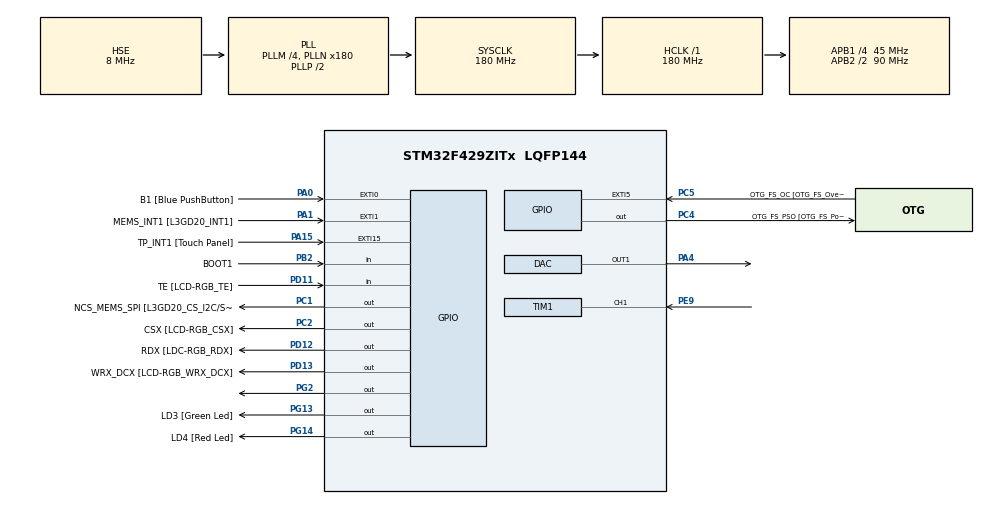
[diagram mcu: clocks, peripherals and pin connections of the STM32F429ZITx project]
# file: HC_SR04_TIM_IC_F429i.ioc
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DAC.DAC_Trigger=DAC_TRIGGER_T2_TRGO
Dma.DAC1.0.Direction=DMA_MEMORY_TO_PERIPH
Dma.DAC1.0.FIFOMode=DMA_FIFOMODE_DISABLE
Dma.DAC1.0.Instance=DMA1_Stream5
Dma.DAC1.0.MemDataAlignment=DMA_MDATAALIGN_WORD
Dma.DAC1.0.MemInc=DMA_MINC_ENABLE
Dma.DAC1.0.Mode=DMA_CIRCULAR
Dma.DAC1.0.PeriphDataAlignment=DMA_PDATAALIGN_WORD
Dma.DAC1.0.PeriphInc=DMA_PINC_DISABLE
Dma.DAC1.0.Priority=DMA_PRIORITY_LOW
Dma.Request0=DAC1
Mcu.Family=STM32F4
Mcu.Name=STM32F429ZITx
Mcu.Package=LQFP144
NVIC.DMA1_Stream5_IRQn=true\:0\:0\:false\:false\:true\:false\:true\:true
NVIC.PriorityGroup=NVIC_PRIORITYGROUP_4
NVIC.TIM1_CC_IRQn=true\:0\:0\:false\:false\:true\:true\:true\:true
PA0/WKUP.GPIO_Label=B1 [Blue PushButton]
PA0/WKUP.GPIO_ModeDefaultEXTI=GPIO_MODE_EVT_RISING
PA0/WKUP.GPIO_PuPd=GPIO_NOPULL
PA0/WKUP.Signal=GPXTI0
PA1.GPIO_Label=MEMS_INT1 [L3GD20_INT1]
PA1.GPIO_ModeDefaultEXTI=GPIO_MODE_EVT_RISING
PA1.GPIO_PuPd=GPIO_NOPULL
PA1.Signal=GPXTI1
PA10.GPIO_Label=STLINK_TX [STM32F103CBT6_PA2]
PA10.Signal=USART1_RX
PA11.GPIO_Label=R4
PA11.GPIO_Mode=GPIO_MODE_AF_PP
PA11.GPIO_PuPd=GPIO_NOPULL
PA11.GPIO_Speed=GPIO_SPEED_FREQ_LOW
PA11.Signal=LTDC_R4
PA12.GPIO_Label=R5
PA12.GPIO_Mode=GPIO_MODE_AF_PP
PA12.GPIO_PuPd=GPIO_NOPULL
PA12.GPIO_Speed=GPIO_SPEED_FREQ_LOW
PA12.Signal=LTDC_R5
PA13.GPIO_Label=SWDIO
PA13.Mode=Serial_Wire
PA13.Signal=SYS_JTMS-SWDIO
PA14.GPIO_Label=SWCLK
PA14.Mode=Serial_Wire
PA14.Signal=SYS_JTCK-SWCLK
PA15.GPIO_Label=TP_INT1 [Touch Panel]
PA15.GPIO_ModeDefaultEXTI=GPIO_MODE_EVT_RISING
PA15.GPIO_PuPd=GPIO_NOPULL
PA15.Signal=GPXTI15
PA3.GPIO_Label=B5
PA3.GPIO_Mode=GPIO_MODE_AF_PP
PA3.GPIO_PuPd=GPIO_NOPULL
PA3.GPIO_Speed=GPIO_SPEED_FREQ_LOW
PA3.Signal=LTDC_B5
PA4.Signal=COMP_DAC1_group
PA6.GPIO_Label=G2
PA6.GPIO_Mode=GPIO_MODE_AF_PP
PA6.GPIO_PuPd=GPIO_NOPULL
PA6.GPIO_Speed=GPIO_SPEED_FREQ_LOW
PA6.Signal=LTDC_G2
PA7.Signal=TIM1_CH1N
PA8.GPIO_Label=I2C3_SCL [ACP/RF_SCL]
PA8.GPIO_Mode=GPIO_MODE_AF_OD
PA8.GPIO_PuPd=GPIO_NOPULL
PA8.GPIO_Speed=GPIO_SPEED_FREQ_LOW
PA8.Signal=I2C3_SCL
PA9.GPIO_Label=STLINK_RX [STM32F103CBT6_PA3]
PA9.Signal=USART1_TX
PB0.GPIO_Label=R3
PB0.GPIO_Mode=GPIO_MODE_AF_PP
PB0.GPIO_PuPd=GPIO_NOPULL
PB0.GPIO_Speed=GPIO_SPEED_FREQ_LOW
PB0.Signal=LTDC_R3
PB1.GPIO_Label=R6
PB1.GPIO_Mode=GPIO_MODE_AF_PP
PB1.GPIO_PuPd=GPIO_NOPULL
PB1.GPIO_Speed=GPIO_SPEED_FREQ_LOW
PB1.Signal=LTDC_R6
PB10.GPIO_Label=G4
PB10.GPIO_Mode=GPIO_MODE_AF_PP
PB10.GPIO_PuPd=GPIO_NOPULL
PB10.GPIO_Speed=GPIO_SPEED_FREQ_LOW
PB10.Signal=LTDC_G4
PB11.GPIO_Label=G5
PB11.GPIO_Mode=GPIO_MODE_AF_PP
PB11.GPIO_PuPd=GPIO_NOPULL
PB11.GPIO_Speed=GPIO_SPEED_FREQ_LOW
PB11.Signal=LTDC_G5
PB12.GPIO_Label=OTG_HS_ID
PB12.GPIO_Mode=GPIO_MODE_AF_PP
PB12.GPIO_PuPd=GPIO_NOPULL
PB12.GPIO_Speed=GPIO_SPEED_FREQ_LOW
PB12.Signal=USB_OTG_HS_ID
PB13.GPIO_Label=VBUS_HS
PB13.GPIO_Mode=GPIO_MODE_INPUT
PB13.GPIO_PuPd=GPIO_NOPULL
PB13.Signal=USB_OTG_HS_VBUS
PB14.GPIO_Label=OTG_HS_DM
PB14.GPIO_Mode=GPIO_MODE_AF_PP
PB14.GPIO_PuPd=GPIO_NOPULL
PB14.GPIO_Speed=GPIO_SPEED_FREQ_LOW
PB14.Signal=USB_OTG_HS_DM
PB15.GPIO_Label=OTG_HS_DP
PB15.GPIO_Mode=GPIO_MODE_AF_PP
PB15.GPIO_PuPd=GPIO_NOPULL
PB15.GPIO_Speed=GPIO_SPEED_FREQ_LOW
PB15.Signal=USB_OTG_HS_DP
PB2/BOOT1.GPIO_Label=BOOT1
PB2/BOOT1.GPIO_Mode=GPIO_MODE_INPUT
PB2/BOOT1.GPIO_PuPd=GPIO_NOPULL
PB2/BOOT1.Signal=GPIO_Input
PB5.GPIO_Label=SDCKE1
PB5.GPIO_Mode=GPIO_MODE_AF_PP
PB5.GPIO_PuPd=GPIO_NOPULL
PB5.GPIO_Speed=GPIO_SPEED_FREQ_VERY_HIGH
PB5.Signal=FMC_SDCKE1
PB6.GPIO_Label=SDNE1 [SDRAM_CS]
PB6.GPIO_Mode=GPIO_MODE_AF_PP
PB6.GPIO_PuPd=GPIO_NOPULL
PB6.GPIO_Speed=GPIO_SPEED_FREQ_VERY_HIGH
PB6.Signal=FMC_SDNE1
PB8.GPIO_Label=B6
PB8.GPIO_Mode=GPIO_MODE_AF_PP
PB8.GPIO_PuPd=GPIO_NOPULL
PB8.GPIO_Speed=GPIO_SPEED_FREQ_LOW
PB8.Signal=LTDC_B6
PB9.GPIO_Label=B7
PB9.GPIO_Mode=GPIO_MODE_AF_PP
PB9.GPIO_PuPd=GPIO_NOPULL
PB9.GPIO_Speed=GPIO_SPEED_FREQ_LOW
PB9.Signal=LTDC_B7
PC0.GPIO_Label=SDNWE
PC0.GPIO_Mode=GPIO_MODE_AF_PP
PC0.GPIO_PuPd=GPIO_NOPULL
PC0.GPIO_Speed=GPIO_SPEED_FREQ_VERY_HIGH
PC0.Signal=FMC_SDNWE
PC1.GPIO_Label=NCS_MEMS_SPI [L3GD20_CS_I2C/SPI]
PC1.GPIO_Mode=GPIO_MODE_OUTPUT_PP
PC1.GPIO_PuPd=GPIO_NOPULL
PC1.GPIO_Speed=GPIO_SPEED_FREQ_LOW
PC1.Signal=GPIO_Output
PC10.GPIO_Label=R2
PC10.GPIO_Mode=GPIO_MODE_AF_PP
PC10.GPIO_PuPd=GPIO_NOPULL
PC10.GPIO_Speed=GPIO_SPEED_FREQ_LOW
PC10.Signal=LTDC_R2
PC14/OSC32_IN.GPIO_Label=PC14-OSC32_IN
PC14/OSC32_IN.Signal=RCC_OSC32_IN
PC15/OSC32_OUT.GPIO_Label=PC15-OSC32_OUT
PC15/OSC32_OUT.Signal=RCC_OSC32_OUT
PC2.GPIO_Label=CSX [LCD-RGB_CSX]
PC2.GPIO_Mode=GPIO_MODE_OUTPUT_PP
PC2.GPIO_PuPd=GPIO_NOPULL
PC2.GPIO_Speed=GPIO_SPEED_FREQ_LOW
PC2.Signal=GPIO_Output
PC4.GPIO_Label=OTG_FS_PSO [OTG_FS_PowerSwitchOn]
PC4.GPIO_Mode=GPIO_MODE_OUTPUT_PP
PC4.GPIO_PuPd=GPIO_NOPULL
PC4.GPIO_Speed=GPIO_SPEED_FREQ_LOW
PC4.Signal=GPIO_Output
PC5.GPIO_Label=OTG_FS_OC [OTG_FS_OverCurrent]
PC5.GPIO_ModeDefaultEXTI=GPIO_MODE_EVT_RISING
PC5.Signal=GPXTI5
PC6.GPIO_Label=HSYNC
PC6.GPIO_Mode=GPIO_MODE_AF_PP
PC6.GPIO_PuPd=GPIO_NOPULL
PC6.GPIO_Speed=GPIO_SPEED_FREQ_LOW
PC6.Signal=LTDC_HSYNC
PC7.GPIO_Label=G6
PC7.GPIO_Mode=GPIO_MODE_AF_PP
PC7.GPIO_PuPd=GPIO_NOPULL
PC7.GPIO_Speed=GPIO_SPEED_FREQ_LOW
PC7.Signal=LTDC_G6
PC9.GPIO_Label=I2C3_SDA [ACP/RF_SDA]
PC9.GPIO_Mode=GPIO_MODE_AF_OD
PC9.GPIO_PuPd=GPIO_NOPULL
PC9.GPIO_Speed=GPIO_SPEED_FREQ_LOW
PC9.Signal=I2C3_SDA
PD0.GPIO_Label=D2
PD0.GPIO_Mode=GPIO_MODE_AF_PP
PD0.GPIO_PuPd=GPIO_NOPULL
PD0.GPIO_Speed=GPIO_SPEED_FREQ_VERY_HIGH
PD0.Signal=FMC_D2_DA2
PD1.GPIO_Label=D3
PD1.GPIO_Mode=GPIO_MODE_AF_PP
PD1.GPIO_PuPd=GPIO_NOPULL
PD1.GPIO_Speed=GPIO_SPEED_FREQ_VERY_HIGH
PD1.Signal=FMC_D3_DA3
PD10.GPIO_Label=D15
PD10.GPIO_Mode=GPIO_MODE_AF_PP
PD10.GPIO_PuPd=GPIO_NOPULL
PD10.GPIO_Speed=GPIO_SPEED_FREQ_VERY_HIGH
PD10.Signal=FMC_D15_DA15
PD11.GPIO_Label=TE [LCD-RGB_TE]
PD11.GPIO_Mode=GPIO_MODE_INPUT
PD11.GPIO_PuPd=GPIO_NOPULL
PD11.Signal=GPIO_Input
PD12.GPIO_Label=RDX [LDC-RGB_RDX]
PD12.GPIO_Mode=GPIO_MODE_OUTPUT_PP
PD12.GPIO_PuPd=GPIO_NOPULL
PD12.GPIO_Speed=GPIO_SPEED_FREQ_LOW
PD12.Signal=GPIO_Output
PD13.GPIO_Label=WRX_DCX [LCD-RGB_WRX_DCX]
PD13.GPIO_Mode=GPIO_MODE_OUTPUT_PP
PD13.GPIO_PuPd=GPIO_NOPULL
PD13.GPIO_Speed=GPIO_SPEED_FREQ_LOW
PD13.Signal=GPIO_Output
PD14.GPIO_Label=D0
PD14.GPIO_Mode=GPIO_MODE_AF_PP
PD14.GPIO_PuPd=GPIO_NOPULL
PD14.GPIO_Speed=GPIO_SPEED_FREQ_VERY_HIGH
PD14.Signal=FMC_D0_DA0
PD15.GPIO_Label=D1
PD15.GPIO_Mode=GPIO_MODE_AF_PP
PD15.GPIO_PuPd=GPIO_NOPULL
PD15.GPIO_Speed=GPIO_SPEED_FREQ_VERY_HIGH
PD15.Signal=FMC_D1_DA1
PD3.GPIO_Label=G7
PD3.GPIO_Mode=GPIO_MODE_AF_PP
PD3.GPIO_PuPd=GPIO_NOPULL
PD3.GPIO_Speed=GPIO_SPEED_FREQ_LOW
PD3.Signal=LTDC_G7
PD6.GPIO_Label=B2
PD6.GPIO_Mode=GPIO_MODE_AF_PP
PD6.GPIO_PuPd=GPIO_NOPULL
PD6.GPIO_Speed=GPIO_SPEED_FREQ_LOW
PD6.Signal=LTDC_B2
PD8.GPIO_Label=D13
PD8.GPIO_Mode=GPIO_MODE_AF_PP
PD8.GPIO_PuPd=GPIO_NOPULL
PD8.GPIO_Speed=GPIO_SPEED_FREQ_VERY_HIGH
PD8.Signal=FMC_D13_DA13
PD9.GPIO_Label=D14
PD9.GPIO_Mode=GPIO_MODE_AF_PP
PD9.GPIO_PuPd=GPIO_NOPULL
PD9.GPIO_Speed=GPIO_SPEED_FREQ_VERY_HIGH
PD9.Signal=FMC_D14_DA14
PE0.GPIO_Label=NBL0 [SDRAM_LDQM]
PE0.GPIO_Mode=GPIO_MODE_AF_PP
PE0.GPIO_PuPd=GPIO_NOPULL
PE0.GPIO_Speed=GPIO_SPEED_FREQ_VERY_HIGH
PE0.Signal=FMC_NBL0
PE1.GPIO_Label=NBL1 [SDRAM_UDQM]
PE1.GPIO_Mode=GPIO_MODE_AF_PP
PE1.GPIO_PuPd=GPIO_NOPULL
PE1.GPIO_Speed=GPIO_SPEED_FREQ_VERY_HIGH
PE1.Signal=FMC_NBL1
PE10.GPIO_Label=D7
PE10.GPIO_Mode=GPIO_MODE_AF_PP
PE10.GPIO_PuPd=GPIO_NOPULL
PE10.GPIO_Speed=GPIO_SPEED_FREQ_VERY_HIGH
PE10.Signal=FMC_D7_DA7
PE11.GPIO_Label=D8
PE11.GPIO_Mode=GPIO_MODE_AF_PP
PE11.GPIO_PuPd=GPIO_NOPULL
PE11.GPIO_Speed=GPIO_SPEED_FREQ_VERY_HIGH
PE11.Signal=FMC_D8_DA8
PE12.GPIO_Label=D9
PE12.GPIO_Mode=GPIO_MODE_AF_PP
PE12.GPIO_PuPd=GPIO_NOPULL
PE12.GPIO_Speed=GPIO_SPEED_FREQ_VERY_HIGH
PE12.Signal=FMC_D9_DA9
PE13.GPIO_Label=D10
PE13.GPIO_Mode=GPIO_MODE_AF_PP
PE13.GPIO_PuPd=GPIO_NOPULL
PE13.GPIO_Speed=GPIO_SPEED_FREQ_VERY_HIGH
PE13.Signal=FMC_D10_DA10
PE14.GPIO_Label=D11
PE14.GPIO_Mode=GPIO_MODE_AF_PP
PE14.GPIO_PuPd=GPIO_NOPULL
PE14.GPIO_Speed=GPIO_SPEED_FREQ_VERY_HIGH
PE14.Signal=FMC_D11_DA11
PE15.GPIO_Label=D12
PE15.GPIO_Mode=GPIO_MODE_AF_PP
PE15.GPIO_PuPd=GPIO_NOPULL
PE15.GPIO_Speed=GPIO_SPEED_FREQ_VERY_HIGH
PE15.Signal=FMC_D12_DA12
PE8.GPIO_Label=D5
PE8.GPIO_Mode=GPIO_MODE_AF_PP
PE8.GPIO_PuPd=GPIO_NOPULL
PE8.GPIO_Speed=GPIO_SPEED_FREQ_VERY_HIGH
PE8.Signal=FMC_D5_DA5
PE9.Signal=S_TIM1_CH1
PF0.GPIO_Label=A0
PF0.GPIO_Mode=GPIO_MODE_AF_PP
PF0.GPIO_PuPd=GPIO_NOPULL
PF0.GPIO_Speed=GPIO_SPEED_FREQ_VERY_HIGH
PF0.Signal=FMC_A0
PF1.GPIO_Label=A1
PF1.GPIO_Mode=GPIO_MODE_AF_PP
PF1.GPIO_PuPd=GPIO_NOPULL
PF1.GPIO_Speed=GPIO_SPEED_FREQ_VERY_HIGH
PF1.Signal=FMC_A1
PF10.GPIO_Label=ENABLE [LCD-RGB_ENABLE]
PF10.GPIO_Mode=GPIO_MODE_AF_PP
PF10.GPIO_PuPd=GPIO_NOPULL
PF10.GPIO_Speed=GPIO_SPEED_FREQ_LOW
PF10.Signal=LTDC_DE
PF11.GPIO_Label=SDNRAS
PF11.GPIO_Mode=GPIO_MODE_AF_PP
PF11.GPIO_PuPd=GPIO_NOPULL
PF11.GPIO_Speed=GPIO_SPEED_FREQ_VERY_HIGH
PF11.Signal=FMC_SDNRAS
PF12.GPIO_Label=A6
PF12.GPIO_Mode=GPIO_MODE_AF_PP
PF12.GPIO_PuPd=GPIO_NOPULL
PF12.GPIO_Speed=GPIO_SPEED_FREQ_VERY_HIGH
PF12.Signal=FMC_A6
PF13.GPIO_Label=A7
PF13.GPIO_Mode=GPIO_MODE_AF_PP
PF13.GPIO_PuPd=GPIO_NOPULL
PF13.GPIO_Speed=GPIO_SPEED_FREQ_VERY_HIGH
PF13.Signal=FMC_A7
PF14.GPIO_Label=A8
PF14.GPIO_Mode=GPIO_MODE_AF_PP
PF14.GPIO_PuPd=GPIO_NOPULL
PF14.GPIO_Speed=GPIO_SPEED_FREQ_VERY_HIGH
PF14.Signal=FMC_A8
PF15.GPIO_Label=A9
PF15.GPIO_Mode=GPIO_MODE_AF_PP
PF15.GPIO_PuPd=GPIO_NOPULL
PF15.GPIO_Speed=GPIO_SPEED_FREQ_VERY_HIGH
PF15.Signal=FMC_A9
PF2.GPIO_Label=A2
PF2.GPIO_Mode=GPIO_MODE_AF_PP
PF2.GPIO_PuPd=GPIO_NOPULL
PF2.GPIO_Speed=GPIO_SPEED_FREQ_VERY_HIGH
PF2.Signal=FMC_A2
PF3.GPIO_Label=A3
PF3.GPIO_Mode=GPIO_MODE_AF_PP
PF3.GPIO_PuPd=GPIO_NOPULL
PF3.GPIO_Speed=GPIO_SPEED_FREQ_VERY_HIGH
PF3.Signal=FMC_A3
PF4.GPIO_Label=A4
PF4.GPIO_Mode=GPIO_MODE_AF_PP
PF4.GPIO_PuPd=GPIO_NOPULL
PF4.GPIO_Speed=GPIO_SPEED_FREQ_VERY_HIGH
PF4.Signal=FMC_A4
PF5.GPIO_Label=A5
PF5.GPIO_Mode=GPIO_MODE_AF_PP
PF5.GPIO_PuPd=GPIO_NOPULL
PF5.GPIO_Speed=GPIO_SPEED_FREQ_VERY_HIGH
PF5.Signal=FMC_A5
PF7.GPIO_Label=SPI5_SCK [L3GD20_SCL/SPC]
PF7.GPIO_Mode=GPIO_MODE_AF_PP
PF7.GPIO_PuPd=GPIO_NOPULL
PF7.GPIO_Speed=GPIO_SPEED_FREQ_LOW
PF7.Signal=SPI5_SCK
PF8.GPIO_Label=SPI5_MISO [L3GD20_SDO]
PF8.GPIO_Mode=GPIO_MODE_AF_PP
PF8.GPIO_PuPd=GPIO_NOPULL
PF8.GPIO_Speed=GPIO_SPEED_FREQ_LOW
PF8.Signal=SPI5_MISO
PF9.GPIO_Label=SPI5_MOSI [L3GD20_SDA/SDI/SDO]
PF9.GPIO_Mode=GPIO_MODE_AF_PP
PF9.GPIO_PuPd=GPIO_NOPULL
PF9.GPIO_Speed=GPIO_SPEED_FREQ_LOW
PF9.Signal=SPI5_MOSI
PG0.GPIO_Label=A10
PG0.GPIO_Mode=GPIO_MODE_AF_PP
PG0.GPIO_PuPd=GPIO_NOPULL
PG0.GPIO_Speed=GPIO_SPEED_FREQ_VERY_HIGH
PG0.Signal=FMC_A10
PG1.GPIO_Label=A11
PG1.GPIO_Mode=GPIO_MODE_AF_PP
PG1.GPIO_PuPd=GPIO_NOPULL
PG1.GPIO_Speed=GPIO_SPEED_FREQ_VERY_HIGH
PG1.Signal=FMC_A11
PG10.GPIO_Label=G3
PG10.GPIO_Mode=GPIO_MODE_AF_PP
PG10.GPIO_PuPd=GPIO_NOPULL
PG10.GPIO_Speed=GPIO_SPEED_FREQ_LOW
PG10.Signal=LTDC_G3
PG11.GPIO_Label=B3
PG11.GPIO_Mode=GPIO_MODE_AF_PP
PG11.GPIO_PuPd=GPIO_NOPULL
PG11.GPIO_Speed=GPIO_SPEED_FREQ_LOW
PG11.Signal=LTDC_B3
PG12.GPIO_Label=B4
PG12.GPIO_Mode=GPIO_MODE_AF_PP
PG12.GPIO_PuPd=GPIO_NOPULL
PG12.GPIO_Speed=GPIO_SPEED_FREQ_LOW
PG12.Signal=LTDC_B4
PG13.GPIO_Label=LD3 [Green Led]
PG13.GPIO_Mode=GPIO_MODE_OUTPUT_PP
PG13.GPIO_PuPd=GPIO_NOPULL
PG13.GPIO_Speed=GPIO_SPEED_FREQ_LOW
PG13.Signal=GPIO_Output
PG14.GPIO_Label=LD4 [Red Led]
PG14.GPIO_Mode=GPIO_MODE_OUTPUT_PP
PG14.GPIO_PuPd=GPIO_NOPULL
PG14.GPIO_Speed=GPIO_SPEED_FREQ_LOW
PG14.Signal=GPIO_Output
PG15.GPIO_Label=SDNCAS
PG15.GPIO_Mode=GPIO_MODE_AF_PP
PG15.GPIO_PuPd=GPIO_NOPULL
PG15.GPIO_Speed=GPIO_SPEED_FREQ_VERY_HIGH
PG15.Signal=FMC_SDNCAS
PG2.Signal=GPIO_Output
PG4.GPIO_Label=BA0
PG4.GPIO_Mode=GPIO_MODE_AF_PP
PG4.GPIO_PuPd=GPIO_NOPULL
PG4.GPIO_Speed=GPIO_SPEED_FREQ_VERY_HIGH
PG4.Signal=FMC_A14_BA0
PG5.GPIO_Label=BA1
PG5.GPIO_Mode=GPIO_MODE_AF_PP
PG5.GPIO_PuPd=GPIO_NOPULL
PG5.GPIO_Speed=GPIO_SPEED_FREQ_VERY_HIGH
PG5.Signal=FMC_A15_BA1
PG6.GPIO_Label=R7
PG6.GPIO_Mode=GPIO_MODE_AF_PP
PG6.GPIO_PuPd=GPIO_NOPULL
PG6.GPIO_Speed=GPIO_SPEED_FREQ_LOW
PG6.Signal=LTDC_R7
PG7.GPIO_Label=DOTCLK [LCT-RGB_DOTCLK]
PG7.GPIO_Mode=GPIO_MODE_AF_PP
PG7.GPIO_PuPd=GPIO_NOPULL
PG7.GPIO_Speed=GPIO_SPEED_FREQ_LOW
PG7.Signal=LTDC_CLK
PG8.GPIO_Label=SDCLK
PG8.GPIO_Mode=GPIO_MODE_AF_PP
PG8.GPIO_PuPd=GPIO_NOPULL
PG8.GPIO_Speed=GPIO_SPEED_FREQ_VERY_HIGH
PG8.Signal=FMC_SDCLK
PH0/OSC_IN.GPIO_Label=PH0-OSC_IN
PH0/OSC_IN.Mode=HSE-External-Oscillator
PH0/OSC_IN.Signal=RCC_OSC_IN
PH1/OSC_OUT.GPIO_Label=PH1-OSC_OUT
PH1/OSC_OUT.Mode=HSE-External-Oscillator
PH1/OSC_OUT.Signal=RCC_OSC_OUT
ProjectManager.HeapSize=0x200
ProjectManager.StackSize=0x400
ProjectManager.TargetToolchain=STM32CubeIDE
RCC.48MHZClocksFreq_Value=51428571.428571425
RCC.AHBFreq_Value=180000000
RCC.APB1CLKDivider=RCC_HCLK_DIV4
RCC.APB1Freq_Value=45000000
RCC.APB1TimFreq_Value=90000000
RCC.APB2CLKDivider=RCC_HCLK_DIV2
RCC.APB2Freq_Value=90000000
RCC.APB2TimFreq_Value=180000000
RCC.CortexFreq_Value=180000000
RCC.HCLKFreq_Value=180000000
RCC.HSE_VALUE=8000000
RCC.HSI_VALUE=16000000
RCC.LSE_VALUE=32768
RCC.PLLM=4
RCC.PLLN=180
RCC.PLLQ=7
RCC.PLLSAIN=50
RCC.PLLSourceVirtual=RCC_PLLSOURCE_HSE
RCC.SYSCLKFreq_VALUE=180000000
RCC.SYSCLKSource=RCC_SYSCLKSOURCE_PLLCLK
RCC.VCOOutputFreq_Value=360000000
SH.COMP_DAC1_group.0=DAC_OUT1,DAC_OUT1
SH.FMC_A0.0=FMC_A0
SH.FMC_A1.0=FMC_A1
SH.FMC_A10.0=FMC_A10
SH.FMC_A11.0=FMC_A11
SH.FMC_A14_BA0.0=FMC_BA0
SH.FMC_A15_BA1.0=FMC_BA1
SH.FMC_A2.0=FMC_A2
SH.FMC_A3.0=FMC_A3
SH.FMC_A4.0=FMC_A4
SH.FMC_A5.0=FMC_A5
SH.FMC_A6.0=FMC_A6
SH.FMC_A7.0=FMC_A7
SH.FMC_A8.0=FMC_A8
SH.FMC_A9.0=FMC_A9
SH.FMC_D0_DA0.0=FMC_D0
SH.FMC_D10_DA10.0=FMC_D10
SH.FMC_D11_DA11.0=FMC_D11
SH.FMC_D12_DA12.0=FMC_D12
SH.FMC_D13_DA13.0=FMC_D13
SH.FMC_D14_DA14.0=FMC_D14
SH.FMC_D15_DA15.0=FMC_D15
SH.FMC_D1_DA1.0=FMC_D1
SH.FMC_D2_DA2.0=FMC_D2
SH.FMC_D3_DA3.0=FMC_D3
SH.FMC_D5_DA5.0=FMC_D5
SH.FMC_D7_DA7.0=FMC_D7
SH.FMC_D8_DA8.0=FMC_D8
SH.FMC_D9_DA9.0=FMC_D9
SH.FMC_NBL0.0=FMC_NBL0
SH.FMC_NBL1.0=FMC_NBL1
SH.FMC_SDCLK.0=FMC_SDCLK
SH.FMC_SDNCAS.0=FMC_SDNCAS
SH.FMC_SDNRAS.0=FMC_SDNRAS
SH.FMC_SDNWE.0=FMC_SDNWE
SH.S_TIM1_CH1.0=TIM1_CH1,Input_Capture1_from_TI1
TIM1.Channel-Input_Capture1_from_TI1=TIM_CHANNEL_1
TIM1.ICFilter_CH1=1
TIM1.ICPolarity_CH1=TIM_INPUTCHANNELPOLARITY_BOTHEDGE
TIM1.Prescaler=180-1
TIM2.Period=1000-1
TIM2.Prescaler=90-1
TIM2.TIM_MasterOutputTrigger=TIM_TRGO_UPDATE
VP_TIM2_VS_ClockSourceINT.Mode=Internal
board=STM32F429I-DISC1

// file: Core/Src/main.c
/* USER CODE BEGIN Header */
/**
  ******************************************************************************
  * @file           : main.c
  * @brief          : Main program body
  ******************************************************************************
  * @attention
  *
  * Copyright (c) 2023 STMicroelectronics.
  * All rights reserved.
  *
  * This software is licensed under terms that can be found in the LICENSE file
  * in the root directory of this software component.
  * If no LICENSE file comes with this software, it is provided AS-IS.
  *
  ******************************************************************************
  */
/* USER CODE END Header */
#include "main.h"

/* USER CODE BEGIN Includes */
#include "math.h"
/* USER CODE END Includes */

/* USER CODE BEGIN PD */
#define PI 3.1415926
#define SAMPLENUM 10000
/* USER CODE END PD */

DAC_HandleTypeDef hdac;
DMA_HandleTypeDef hdma_dac1;

TIM_HandleTypeDef htim1;
TIM_HandleTypeDef htim2;

/* USER CODE BEGIN PV */
// TIMER DEGISKENLERI
uint32_t InputCapture[2] = {0}; // [0]->rising [1]->falling yakalama zamanları
uint32_t Distance = 0;

uint8_t Is_first = 1;
uint8_t toggle = 0;

// DAC DEGISKENLERI
float value = 0.2;
uint32_t var;
uint32_t sine_arr[SAMPLENUM] = { 0 };
/* USER CODE END PV */

void SystemClock_Config(void);
static void MX_GPIO_Init(void);
static void MX_DMA_Init(void);
static void MX_TIM1_Init(void);
static void MX_DAC_Init(void);
static void MX_TIM2_Init(void);

/* USER CODE BEGIN 0 */
void sinGet (void)
{
	for (int i=0; i<SAMPLENUM; i++)
	{
		// Formul user manual -> application notes -> Using DAC to gen. sine wave basligindan alindi
		sine_arr[i] = (sin(i*2*PI/SAMPLENUM)+1)* (4096/2);
	}
}

void delay (uint16_t time)
{
	__HAL_TIM_SET_COUNTER(&htim1, 0);
	while (__HAL_TIM_GET_COUNTER(&htim1) < time);
}

// Timer Input Capture BOTH EDGES olarak seçildi
void HAL_TIM_IC_CaptureCallback(TIM_HandleTypeDef *htim)
{
	if (htim->Channel == HAL_TIM_ACTIVE_CHANNEL_1)		// Timer üzerinde Kanal 1 yapılandırıldı.
	{
		if (Is_first)
		{
			InputCapture[0] = HAL_TIM_ReadCapturedValue(htim, TIM_CHANNEL_1);
			Is_first = 0;
		}
		else
		{
			InputCapture[1] = HAL_TIM_ReadCapturedValue(htim, TIM_CHANNEL_1);
			__HAL_TIM_SET_COUNTER(htim, 0);

			if (InputCapture[0] > InputCapture[1])
			{
				Distance = (0xFFFF - InputCapture[0]) + InputCapture[1];
			}
			else
			{
				Distance = InputCapture[1] - InputCapture[0];
			}
			Distance = Distance * (0.034/2);	// Sesin havadaki hızı 34cm/ms (340m/s). Distance = (Hız x Zaman) / 2
			Is_first = 1;						// Timer ms birimine sahip olacak şekilde yapılandırıldı.
		}
	}
}

// Eğer ARR değerinin değiştirildiği an sayaç girilen ARR değerinden büyük ise DAC özelinde dengesizlik yaratmakta.
// EGR register'ı değiştirilerek sonraki sayaç döngüsünde girlen ARR değerinin aktif olması sağlandı.
void updateARR  (TIM_HandleTypeDef* htim, uint16_t arr)
{
    __HAL_TIM_SET_AUTORELOAD(htim, arr);

    if (__HAL_TIM_GET_COUNTER(htim) >= __HAL_TIM_GET_AUTORELOAD(htim))
    	htim->Instance->EGR  |= TIM_EGR_UG;
}

void HCSR04_read (void)
{
	HAL_GPIO_WritePin(GPIOG, GPIO_PIN_2, GPIO_PIN_SET);
	delay (10);		// 10us boyunca TRIGGER sinyal gönder
	HAL_GPIO_WritePin(GPIOG, GPIO_PIN_2, GPIO_PIN_RESET);
 }
/* USER CODE END 0 */

int main(void)
{

  /* MCU Configuration--------------------------------------------------------*/

  /* Reset of all peripherals, Initializes the Flash interface and the Systick. */
  HAL_Init();

  /* Configure the system clock */
  SystemClock_Config();

  /* Initialize all configured peripherals */
  MX_GPIO_Init();
  MX_DMA_Init();
  MX_TIM1_Init();
  MX_DAC_Init();
  MX_TIM2_Init();
  /* USER CODE BEGIN 2 */
  __HAL_TIM_ENABLE_IT(&htim1, TIM_IT_CC1);		// TIMER IT Etkinlestir
  HAL_TIM_IC_Start(&htim1, TIM_CHANNEL_1);		// Input Capture modunu başlat

  // TIM2 APB2 hattina bagli ve 90MHz hızında, prescalar (90-1) ile TIM2 1MHz'e düşürüldü
  // ARR 100 ile frekans 10KHz hızına düşürüldü
  // DAC Sinüs dalgasısının frekansı = 10KHz / SAMLENUM.
  HAL_TIM_Base_Start(&htim2);
  HAL_DAC_Start_DMA(&hdac, DAC_CHANNEL_1, sine_arr, SAMPLENUM, DAC_ALIGN_12B_R);

  sinGet();  	// Sinüs değerlerini oluşturur ve array içerisine yazar
  /* USER CODE END 2 */

  /* Infinite loop */
  while (1)
  {

    /* USER CODE BEGIN 3 */
	  HCSR04_read();
	  if ((Distance>15) && !toggle)
	  {
		  toggle ^= 1;
		  updateARR (&htim2, 500);	// Uzaklığa göre Timer ARR değerini güncelle.
	  }
	  else if ((Distance>0) &&(Distance<15) && toggle)
	  {
		  toggle ^= 1;
		  updateARR (&htim2, 100);	// Uzaklığa göre Timer ARR değerini güncelle.
	  }
	  HAL_Delay(200);	// Sensör yeni veri akışına uygn olana kadar bekle
  }
  /* USER CODE END 3 */
}

void SystemClock_Config(void)
{
  RCC_OscInitTypeDef RCC_OscInitStruct = {0};
  RCC_ClkInitTypeDef RCC_ClkInitStruct = {0};

  /** Configure the main internal regulator output voltage
  */
  __HAL_RCC_PWR_CLK_ENABLE();
  __HAL_PWR_VOLTAGESCALING_CONFIG(PWR_REGULATOR_VOLTAGE_SCALE1);

  /** Initializes the RCC Oscillators according to the specified parameters
  * in the RCC_OscInitTypeDef structure.
  */
  RCC_OscInitStruct.OscillatorType = RCC_OSCILLATORTYPE_HSE;
  RCC_OscInitStruct.HSEState = RCC_HSE_ON;
  RCC_OscInitStruct.PLL.PLLState = RCC_PLL_ON;
  RCC_OscInitStruct.PLL.PLLSource = RCC_PLLSOURCE_HSE;
  RCC_OscInitStruct.PLL.PLLM = 4;
  RCC_OscInitStruct.PLL.PLLN = 180;
  RCC_OscInitStruct.PLL.PLLP = RCC_PLLP_DIV2;
  RCC_OscInitStruct.PLL.PLLQ = 7;
  if (HAL_RCC_OscConfig(&RCC_OscInitStruct) != HAL_OK)
  {
    Error_Handler();
  }

  /** Activate the Over-Drive mode
  */
  if (HAL_PWREx_EnableOverDrive() != HAL_OK)
  {
    Error_Handler();
  }

  /** Initializes the CPU, AHB and APB buses clocks
  */
  RCC_ClkInitStruct.ClockType = RCC_CLOCKTYPE_HCLK|RCC_CLOCKTYPE_SYSCLK
                              |RCC_CLOCKTYPE_PCLK1|RCC_CLOCKTYPE_PCLK2;
  RCC_ClkInitStruct.SYSCLKSource = RCC_SYSCLKSOURCE_PLLCLK;
  RCC_ClkInitStruct.AHBCLKDivider = RCC_SYSCLK_DIV1;
  RCC_ClkInitStruct.APB1CLKDivider = RCC_HCLK_DIV4;
  RCC_ClkInitStruct.APB2CLKDivider = RCC_HCLK_DIV2;

  if (HAL_RCC_ClockConfig(&RCC_ClkInitStruct, FLASH_LATENCY_5) != HAL_OK)
  {
    Error_Handler();
  }
}

static void MX_DAC_Init(void)
{

  DAC_ChannelConfTypeDef sConfig = {0};

  /** DAC Initialization
  */
  hdac.Instance = DAC;
  if (HAL_DAC_Init(&hdac) != HAL_OK)
  {
    Error_Handler();
  }

  /** DAC channel OUT1 config
  */
  sConfig.DAC_Trigger = DAC_TRIGGER_T2_TRGO;
  sConfig.DAC_OutputBuffer = DAC_OUTPUTBUFFER_ENABLE;
  if (HAL_DAC_ConfigChannel(&hdac, &sConfig, DAC_CHANNEL_1) != HAL_OK)
  {
    Error_Handler();
  }

}

static void MX_TIM1_Init(void)
{

  TIM_MasterConfigTypeDef sMasterConfig = {0};
  TIM_IC_InitTypeDef sConfigIC = {0};

  htim1.Instance = TIM1;
  htim1.Init.Prescaler = 180-1;
  htim1.Init.CounterMode = TIM_COUNTERMODE_UP;
  htim1.Init.Period = 65535;
  htim1.Init.ClockDivision = TIM_CLOCKDIVISION_DIV1;
  htim1.Init.RepetitionCounter = 0;
  htim1.Init.AutoReloadPreload = TIM_AUTORELOAD_PRELOAD_DISABLE;
  if (HAL_TIM_IC_Init(&htim1) != HAL_OK)
  {
    Error_Handler();
  }
  sMasterConfig.MasterOutputTrigger = TIM_TRGO_RESET;
  sMasterConfig.MasterSlaveMode = TIM_MASTERSLAVEMODE_DISABLE;
  if (HAL_TIMEx_MasterConfigSynchronization(&htim1, &sMasterConfig) != HAL_OK)
  {
    Error_Handler();
  }
  sConfigIC.ICPolarity = TIM_INPUTCHANNELPOLARITY_BOTHEDGE;
  sConfigIC.ICSelection = TIM_ICSELECTION_DIRECTTI;
  sConfigIC.ICPrescaler = TIM_ICPSC_DIV1;
  sConfigIC.ICFilter = 1;
  if (HAL_TIM_IC_ConfigChannel(&htim1, &sConfigIC, TIM_CHANNEL_1) != HAL_OK)
  {
    Error_Handler();
  }

}

static void MX_TIM2_Init(void)
{

  TIM_ClockConfigTypeDef sClockSourceConfig = {0};
  TIM_MasterConfigTypeDef sMasterConfig = {0};

  htim2.Instance = TIM2;
  htim2.Init.Prescaler = 90-1;
  htim2.Init.CounterMode = TIM_COUNTERMODE_UP;
  htim2.Init.Period = 1000-1;
  htim2.Init.ClockDivision = TIM_CLOCKDIVISION_DIV1;
  htim2.Init.AutoReloadPreload = TIM_AUTORELOAD_PRELOAD_DISABLE;
  if (HAL_TIM_Base_Init(&htim2) != HAL_OK)
  {
    Error_Handler();
  }
  sClockSourceConfig.ClockSource = TIM_CLOCKSOURCE_INTERNAL;
  if (HAL_TIM_ConfigClockSource(&htim2, &sClockSourceConfig) != HAL_OK)
  {
    Error_Handler();
  }
  sMasterConfig.MasterOutputTrigger = TIM_TRGO_UPDATE;
  sMasterConfig.MasterSlaveMode = TIM_MASTERSLAVEMODE_DISABLE;
  if (HAL_TIMEx_MasterConfigSynchronization(&htim2, &sMasterConfig) != HAL_OK)
  {
    Error_Handler();
  }

}

static void MX_DMA_Init(void)
{

  /* DMA controller clock enable */
  __HAL_RCC_DMA1_CLK_ENABLE();

  /* DMA interrupt init */
  /* DMA1_Stream5_IRQn interrupt configuration */
  HAL_NVIC_SetPriority(DMA1_Stream5_IRQn, 0, 0);
  HAL_NVIC_EnableIRQ(DMA1_Stream5_IRQn);

}

static void MX_GPIO_Init(void)
{
  GPIO_InitTypeDef GPIO_InitStruct = {0};

  /* GPIO Ports Clock Enable */
  __HAL_RCC_GPIOC_CLK_ENABLE();
  __HAL_RCC_GPIOF_CLK_ENABLE();
  __HAL_RCC_GPIOH_CLK_ENABLE();
  __HAL_RCC_GPIOA_CLK_ENABLE();
  __HAL_RCC_GPIOB_CLK_ENABLE();
  __HAL_RCC_GPIOG_CLK_ENABLE();
  __HAL_RCC_GPIOE_CLK_ENABLE();
  __HAL_RCC_GPIOD_CLK_ENABLE();

  /*Configure GPIO pin Output Level */
  HAL_GPIO_WritePin(GPIOC, NCS_MEMS_SPI_Pin|CSX_Pin|OTG_FS_PSO_Pin, GPIO_PIN_RESET);

  /*Configure GPIO pin Output Level */
  HAL_GPIO_WritePin(GPIOD, RDX_Pin|WRX_DCX_Pin, GPIO_PIN_RESET);

  /*Configure GPIO pin Output Level */
  HAL_GPIO_WritePin(GPIOG, GPIO_PIN_2|LD3_Pin|LD4_Pin, GPIO_PIN_RESET);

  /*Configure GPIO pins : A0_Pin A1_Pin A2_Pin A3_Pin
                           A4_Pin A5_Pin SDNRAS_Pin A6_Pin
                           A7_Pin A8_Pin A9_Pin */
  GPIO_InitStruct.Pin = A0_Pin|A1_Pin|A2_Pin|A3_Pin
                          |A4_Pin|A5_Pin|SDNRAS_Pin|A6_Pin
                          |A7_Pin|A8_Pin|A9_Pin;
  GPIO_InitStruct.Mode = GPIO_MODE_AF_PP;
  GPIO_InitStruct.Pull = GPIO_NOPULL;
  GPIO_InitStruct.Speed = GPIO_SPEED_FREQ_VERY_HIGH;
  GPIO_InitStruct.Alternate = GPIO_AF12_FMC;
  HAL_GPIO_Init(GPIOF, &GPIO_InitStruct);

  /*Configure GPIO pins : SPI5_SCK_Pin SPI5_MISO_Pin SPI5_MOSI_Pin */
  GPIO_InitStruct.Pin = SPI5_SCK_Pin|SPI5_MISO_Pin|SPI5_MOSI_Pin;
  GPIO_InitStruct.Mode = GPIO_MODE_AF_PP;
  GPIO_InitStruct.Pull = GPIO_NOPULL;
  GPIO_InitStruct.Speed = GPIO_SPEED_FREQ_LOW;
  GPIO_InitStruct.Alternate = GPIO_AF5_SPI5;
  HAL_GPIO_Init(GPIOF, &GPIO_InitStruct);

  /*Configure GPIO pin : ENABLE_Pin */
  GPIO_InitStruct.Pin = ENABLE_Pin;
  GPIO_InitStruct.Mode = GPIO_MODE_AF_PP;
  GPIO_InitStruct.Pull = GPIO_NOPULL;
  GPIO_InitStruct.Speed = GPIO_SPEED_FREQ_LOW;
  GPIO_InitStruct.Alternate = GPIO_AF14_LTDC;
  HAL_GPIO_Init(ENABLE_GPIO_Port, &GPIO_InitStruct);

  /*Configure GPIO pin : SDNWE_Pin */
  GPIO_InitStruct.Pin = SDNWE_Pin;
  GPIO_InitStruct.Mode = GPIO_MODE_AF_PP;
  GPIO_InitStruct.Pull = GPIO_NOPULL;
  GPIO_InitStruct.Speed = GPIO_SPEED_FREQ_VERY_HIGH;
  GPIO_InitStruct.Alternate = GPIO_AF12_FMC;
  HAL_GPIO_Init(SDNWE_GPIO_Port, &GPIO_InitStruct);

  /*Configure GPIO pins : NCS_MEMS_SPI_Pin CSX_Pin OTG_FS_PSO_Pin */
  GPIO_InitStruct.Pin = NCS_MEMS_SPI_Pin|CSX_Pin|OTG_FS_PSO_Pin;
  GPIO_InitStruct.Mode = GPIO_MODE_OUTPUT_PP;
  GPIO_InitStruct.Pull = GPIO_NOPULL;
  GPIO_InitStruct.Speed = GPIO_SPEED_FREQ_LOW;
  HAL_GPIO_Init(GPIOC, &GPIO_InitStruct);

  /*Configure GPIO pins : B1_Pin MEMS_INT1_Pin TP_INT1_Pin */
  GPIO_InitStruct.Pin = B1_Pin|MEMS_INT1_Pin|TP_INT1_Pin;
  GPIO_InitStruct.Mode = GPIO_MODE_EVT_RISING;
  GPIO_InitStruct.Pull = GPIO_NOPULL;
  HAL_GPIO_Init(GPIOA, &GPIO_InitStruct);

  /*Configure GPIO pins : B5_Pin G2_Pin R4_Pin R5_Pin */
  GPIO_InitStruct.Pin = B5_Pin|G2_Pin|R4_Pin|R5_Pin;
  GPIO_InitStruct.Mode = GPIO_MODE_AF_PP;
  GPIO_InitStruct.Pull = GPIO_NOPULL;
  GPIO_InitStruct.Speed = GPIO_SPEED_FREQ_LOW;
  GPIO_InitStruct.Alternate = GPIO_AF14_LTDC;
  HAL_GPIO_Init(GPIOA, &GPIO_InitStruct);

  /*Configure GPIO pin : OTG_FS_OC_Pin */
  GPIO_InitStruct.Pin = OTG_FS_OC_Pin;
  GPIO_InitStruct.Mode = GPIO_MODE_EVT_RISING;
  GPIO_InitStruct.Pull = GPIO_NOPULL;
  HAL_GPIO_Init(OTG_FS_OC_GPIO_Port, &GPIO_InitStruct);

  /*Configure GPIO pins : R3_Pin R6_Pin */
  GPIO_InitStruct.Pin = R3_Pin|R6_Pin;
  GPIO_InitStruct.Mode = GPIO_MODE_AF_PP;
  GPIO_InitStruct.Pull = GPIO_NOPULL;
  GPIO_InitStruct.Speed = GPIO_SPEED_FREQ_LOW;
  GPIO_InitStruct.Alternate = GPIO_AF9_LTDC;
  HAL_GPIO_Init(GPIOB, &GPIO_InitStruct);

  /*Configure GPIO pin : BOOT1_Pin */
  GPIO_InitStruct.Pin = BOOT1_Pin;
  GPIO_InitStruct.Mode = GPIO_MODE_INPUT;
  GPIO_InitStruct.Pull = GPIO_NOPULL;
  HAL_GPIO_Init(BOOT1_GPIO_Port, &GPIO_InitStruct);

  /*Configure GPIO pins : A10_Pin A11_Pin BA0_Pin BA1_Pin
                           SDCLK_Pin SDNCAS_Pin */
  GPIO_InitStruct.Pin = A10_Pin|A11_Pin|BA0_Pin|BA1_Pin
                          |SDCLK_Pin|SDNCAS_Pin;
  GPIO_InitStruct.Mode = GPIO_MODE_AF_PP;
  GPIO_InitStruct.Pull = GPIO_NOPULL;
  GPIO_InitStruct.Speed = GPIO_SPEED_FREQ_VERY_HIGH;
  GPIO_InitStruct.Alternate = GPIO_AF12_FMC;
  HAL_GPIO_Init(GPIOG, &GPIO_InitStruct);

  /*Configure GPIO pins : D5_Pin D7_Pin D8_Pin D9_Pin
                           D10_Pin D11_Pin D12_Pin NBL0_Pin
                           NBL1_Pin */
  GPIO_InitStruct.Pin = D5_Pin|D7_Pin|D8_Pin|D9_Pin
                          |D10_Pin|D11_Pin|D12_Pin|NBL0_Pin
                          |NBL1_Pin;
  GPIO_InitStruct.Mode = GPIO_MODE_AF_PP;
  GPIO_InitStruct.Pull = GPIO_NOPULL;
  GPIO_InitStruct.Speed = GPIO_SPEED_FREQ_VERY_HIGH;
  GPIO_InitStruct.Alternate = GPIO_AF12_FMC;
  HAL_GPIO_Init(GPIOE, &GPIO_InitStruct);

  /*Configure GPIO pins : G4_Pin G5_Pin B6_Pin B7_Pin */
  GPIO_InitStruct.Pin = G4_Pin|G5_Pin|B6_Pin|B7_Pin;
  GPIO_InitStruct.Mode = GPIO_MODE_AF_PP;
  GPIO_InitStruct.Pull = GPIO_NOPULL;
  GPIO_InitStruct.Speed = GPIO_SPEED_FREQ_LOW;
  GPIO_InitStruct.Alternate = GPIO_AF14_LTDC;
  HAL_GPIO_Init(GPIOB, &GPIO_InitStruct);

  /*Configure GPIO pins : OTG_HS_ID_Pin OTG_HS_DM_Pin OTG_HS_DP_Pin */
  GPIO_InitStruct.Pin = OTG_HS_ID_Pin|OTG_HS_DM_Pin|OTG_HS_DP_Pin;
  GPIO_InitStruct.Mode = GPIO_MODE_AF_PP;
  GPIO_InitStruct.Pull = GPIO_NOPULL;
  GPIO_InitStruct.Speed = GPIO_SPEED_FREQ_LOW;
  GPIO_InitStruct.Alternate = GPIO_AF12_OTG_HS_FS;
  HAL_GPIO_Init(GPIOB, &GPIO_InitStruct);

  /*Configure GPIO pin : VBUS_HS_Pin */
  GPIO_InitStruct.Pin = VBUS_HS_Pin;
  GPIO_InitStruct.Mode = GPIO_MODE_INPUT;
  GPIO_InitStruct.Pull = GPIO_NOPULL;
  HAL_GPIO_Init(VBUS_HS_GPIO_Port, &GPIO_InitStruct);

  /*Configure GPIO pins : D13_Pin D14_Pin D15_Pin D0_Pin
                           D1_Pin D2_Pin D3_Pin */
  GPIO_InitStruct.Pin = D13_Pin|D14_Pin|D15_Pin|D0_Pin
                          |D1_Pin|D2_Pin|D3_Pin;
  GPIO_InitStruct.Mode = GPIO_MODE_AF_PP;
  GPIO_InitStruct.Pull = GPIO_NOPULL;
  GPIO_InitStruct.Speed = GPIO_SPEED_FREQ_VERY_HIGH;
  GPIO_InitStruct.Alternate = GPIO_AF12_FMC;
  HAL_GPIO_Init(GPIOD, &GPIO_InitStruct);

  /*Configure GPIO pin : TE_Pin */
  GPIO_InitStruct.Pin = TE_Pin;
  GPIO_InitStruct.Mode = GPIO_MODE_INPUT;
  GPIO_InitStruct.Pull = GPIO_NOPULL;
  HAL_GPIO_Init(TE_GPIO_Port, &GPIO_InitStruct);

  /*Configure GPIO pins : RDX_Pin WRX_DCX_Pin */
  GPIO_InitStruct.Pin = RDX_Pin|WRX_DCX_Pin;
  GPIO_InitStruct.Mode = GPIO_MODE_OUTPUT_PP;
  GPIO_InitStruct.Pull = GPIO_NOPULL;
  GPIO_InitStruct.Speed = GPIO_SPEED_FREQ_LOW;
  HAL_GPIO_Init(GPIOD, &GPIO_InitStruct);

  /*Configure GPIO pins : PG2 LD3_Pin LD4_Pin */
  GPIO_InitStruct.Pin = GPIO_PIN_2|LD3_Pin|LD4_Pin;
  GPIO_InitStruct.Mode = GPIO_MODE_OUTPUT_PP;
  GPIO_InitStruct.Pull = GPIO_NOPULL;
  GPIO_InitStruct.Speed = GPIO_SPEED_FREQ_LOW;
  HAL_GPIO_Init(GPIOG, &GPIO_InitStruct);

  /*Configure GPIO pins : R7_Pin DOTCLK_Pin B3_Pin */
  GPIO_InitStruct.Pin = R7_Pin|DOTCLK_Pin|B3_Pin;
  GPIO_InitStruct.Mode = GPIO_MODE_AF_PP;
  GPIO_InitStruct.Pull = GPIO_NOPULL;
  GPIO_InitStruct.Speed = GPIO_SPEED_FREQ_LOW;
  GPIO_InitStruct.Alternate = GPIO_AF14_LTDC;
  HAL_GPIO_Init(GPIOG, &GPIO_InitStruct);

  /*Configure GPIO pins : HSYNC_Pin G6_Pin R2_Pin */
  GPIO_InitStruct.Pin = HSYNC_Pin|G6_Pin|R2_Pin;
  GPIO_InitStruct.Mode = GPIO_MODE_AF_PP;
  GPIO_InitStruct.Pull = GPIO_NOPULL;
  GPIO_InitStruct.Speed = GPIO_SPEED_FREQ_LOW;
  GPIO_InitStruct.Alternate = GPIO_AF14_LTDC;
  HAL_GPIO_Init(GPIOC, &GPIO_InitStruct);

  /*Configure GPIO pin : I2C3_SDA_Pin */
  GPIO_InitStruct.Pin = I2C3_SDA_Pin;
  GPIO_InitStruct.Mode = GPIO_MODE_AF_OD;
  GPIO_InitStruct.Pull = GPIO_NOPULL;
  GPIO_InitStruct.Speed = GPIO_SPEED_FREQ_LOW;
  GPIO_InitStruct.Alternate = GPIO_AF4_I2C3;
  HAL_GPIO_Init(I2C3_SDA_GPIO_Port, &GPIO_InitStruct);

  /*Configure GPIO pin : I2C3_SCL_Pin */
  GPIO_InitStruct.Pin = I2C3_SCL_Pin;
  GPIO_InitStruct.Mode = GPIO_MODE_AF_OD;
  GPIO_InitStruct.Pull = GPIO_NOPULL;
  GPIO_InitStruct.Speed = GPIO_SPEED_FREQ_LOW;
  GPIO_InitStruct.Alternate = GPIO_AF4_I2C3;
  HAL_GPIO_Init(I2C3_SCL_GPIO_Port, &GPIO_InitStruct);

  /*Configure GPIO pins : STLINK_RX_Pin STLINK_TX_Pin */
  GPIO_InitStruct.Pin = STLINK_RX_Pin|STLINK_TX_Pin;
  GPIO_InitStruct.Mode = GPIO_MODE_AF_PP;
  GPIO_InitStruct.Pull = GPIO_NOPULL;
  GPIO_InitStruct.Speed = GPIO_SPEED_FREQ_VERY_HIGH;
  GPIO_InitStruct.Alternate = GPIO_AF7_USART1;
  HAL_GPIO_Init(GPIOA, &GPIO_InitStruct);

  /*Configure GPIO pins : G7_Pin B2_Pin */
  GPIO_InitStruct.Pin = G7_Pin|B2_Pin;
  GPIO_InitStruct.Mode = GPIO_MODE_AF_PP;
  GPIO_InitStruct.Pull = GPIO_NOPULL;
  GPIO_InitStruct.Speed = GPIO_SPEED_FREQ_LOW;
  GPIO_InitStruct.Alternate = GPIO_AF14_LTDC;
  HAL_GPIO_Init(GPIOD, &GPIO_InitStruct);

  /*Configure GPIO pins : G3_Pin B4_Pin */
  GPIO_InitStruct.Pin = G3_Pin|B4_Pin;
  GPIO_InitStruct.Mode = GPIO_MODE_AF_PP;
  GPIO_InitStruct.Pull = GPIO_NOPULL;
  GPIO_InitStruct.Speed = GPIO_SPEED_FREQ_LOW;
  GPIO_InitStruct.Alternate = GPIO_AF9_LTDC;
  HAL_GPIO_Init(GPIOG, &GPIO_InitStruct);

  /*Configure GPIO pins : SDCKE1_Pin SDNE1_Pin */
  GPIO_InitStruct.Pin = SDCKE1_Pin|SDNE1_Pin;
  GPIO_InitStruct.Mode = GPIO_MODE_AF_PP;
  GPIO_InitStruct.Pull = GPIO_NOPULL;
  GPIO_InitStruct.Speed = GPIO_SPEED_FREQ_VERY_HIGH;
  GPIO_InitStruct.Alternate = GPIO_AF12_FMC;
  HAL_GPIO_Init(GPIOB, &GPIO_InitStruct);

}

void Error_Handler(void)
{
  __disable_irq();
  while (1)
  {
  }
}
